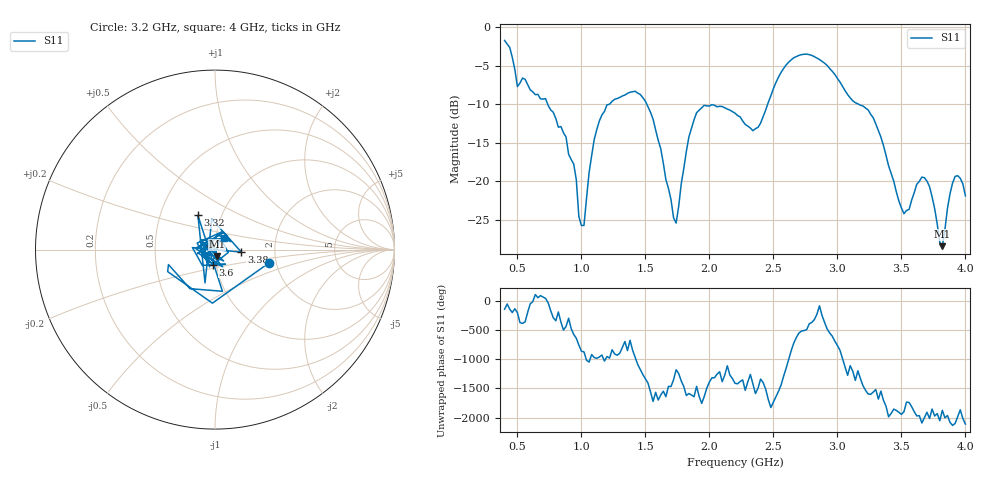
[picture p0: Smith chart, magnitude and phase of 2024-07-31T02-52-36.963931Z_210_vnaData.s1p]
!Created with skrf (http://scikit-rf.org).
# Hz S RI R 50.0
!freq ReS11 ImS11
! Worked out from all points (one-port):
!   181 points, 400 MHz to 4 GHz, reference 50 ohm
!   lowest |S11| = -28.4 dB at 3.82 GHz (marker M1), VSWR 1.08, Z = 50.9 - j3.74 ohm
!   |S11| at or under -10 dB: 736.6 MHz to 1.22 GHz (482.9 MHz wide, 49.4 % of centre); 1.511 GHz to 2.455 GHz (944.1 MHz wide, 47.6 % of centre); 3.166 GHz to end of sweep
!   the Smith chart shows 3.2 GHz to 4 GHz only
!   S11 on the Smith chart (normalised r, x): 3.2 GHz: 1.82, -0.30; 3.32 GHz: 0.77, +0.31; 3.38 GHz: 1.34, -0.04; 3.6 GHz: 0.97, -0.16; 4 GHz: 1.10, +0.14
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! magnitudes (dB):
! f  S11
! 400 MHz  -1.7
! 500 MHz  -7.7
! 720 MHz  -9.3
! 860 MHz  -13.7
! 1.02 GHz  -25.7
! 1.12 GHz  -13.3
! 1.3 GHz  -9.1
! 1.5 GHz  -9.6
! 1.62 GHz  -15.8
! 1.72 GHz  -24.7
! 1.76 GHz  -23.2
! 1.84 GHz  -14.2
! 1.9 GHz  -11.1
! 2.2 GHz  -11.1
! 2.38 GHz  -13.0
! 2.66 GHz  -4.0
! 2.86 GHz  -4.2
! 3.1 GHz  -9.2
! 3.2 GHz  -10.2
! 3.32 GHz  -13.4
! 3.38 GHz  -16.6
! 3.5 GHz  -23.4
! 3.56 GHz  -23.6
! 3.6 GHz  -21.5
! 3.7 GHz  -20.0
! 3.82 GHz  -28.4
! 3.92 GHz  -19.3
! 4 GHz  -21.9
